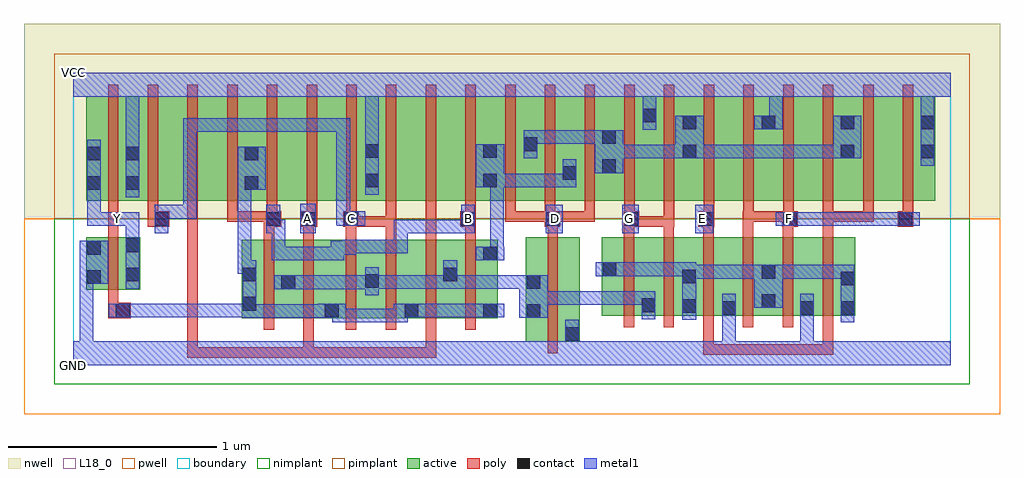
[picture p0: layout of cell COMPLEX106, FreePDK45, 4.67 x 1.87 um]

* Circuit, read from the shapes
.subckt COMPLEX106 A B C D E F G GND VCC Y
M1 Y n1 GND VSUBS nfet w=0.25u l=0.05u
M2 n2 B n1 VSUBS nfet w=0.375u l=0.05u m=2
M3 n1 A n2 VSUBS nfet w=0.375u l=0.05u m=2
M4 n2 C n1 VSUBS nfet w=0.375u l=0.05u m=2
M5 GND D n2 VSUBS nfet w=0.5u l=0.05u
M6 n2 G n3 VSUBS nfet w=0.375u l=0.05u m=2
M7 GND E n3 VSUBS nfet w=0.375u l=0.05u m=2
M8 n3 F GND VSUBS nfet w=0.375u l=0.05u m=2
M9 VCC n1 Y n4 pfet w=0.5u l=0.05u
M10 n5 C VCC n4 pfet w=0.5u l=0.05u
M11 n6 A n5 n4 pfet w=0.5u l=0.05u
M12 n1 B n6 n4 pfet w=0.5u l=0.05u
M13 n7 B n1 n4 pfet w=0.5u l=0.05u
M14 n8 A n7 n4 pfet w=0.5u l=0.05u
M15 VCC C n8 n4 pfet w=0.5u l=0.05u
M16 n9 C VCC n4 pfet w=0.5u l=0.05u
M17 n10 A n9 n4 pfet w=0.5u l=0.05u
M18 n1 B n10 n4 pfet w=0.5u l=0.05u
M19 n11 D n1 n4 pfet w=0.5u l=0.05u m=3
M20 VCC G n11 n4 pfet w=0.5u l=0.05u m=2
M21 n12 E n11 n4 pfet w=0.5u l=0.05u
M22 VCC F n12 n4 pfet w=0.5u l=0.05u
M23 n13 F VCC n4 pfet w=0.5u l=0.05u
M24 n11 E n13 n4 pfet w=0.5u l=0.05u
M25 n14 E n11 n4 pfet w=0.5u l=0.05u
M26 VCC F n14 n4 pfet w=0.5u l=0.05u
.ends

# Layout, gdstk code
import gdstk
lib = gdstk.Library(unit=1e-6, precision=1e-09)
def R(c, l, rs):  # rectangles x0, y0, x1, y1
    for r in rs: c.add(gdstk.rectangle(r[:2], r[2:], *l))
def A(c, l, x, y, w, h, nx, ny, dx, dy):  # array of equal rectangles
    R(c, l, [(x+i*dx, y+j*dy, x+i*dx+w, y+j*dy+h) for i in range(nx) for j in range(ny)])
active = (1, 0)
pwell = (2, 0)
nwell = (3, 0)
nimplant = (4, 0)
pimplant = (5, 0)
poly = (9, 0)
contact = (10, 0)
metal1 = (11, 0)
L18_0 = (18, 0)
boundary = (235, 0)

complex106 = lib.new_cell('COMPLEX106')
A(complex106, active, 0.477, 0.787, 0.19, 0.5, 3, 1, 0.57, 0)
R(complex106, active, [(2.165,0.112,2.425,0.612), (2.35,0.112,2.425,0.592), (2.165,0.145,2.24,0.612), (0.807,0.225,0.882,0.6), (0.807,0.225,1.067,0.6), (0.992,0.225,1.275,0.6), (1.2,0.225,1.467,0.6), (1.2,0.225,1.275,0.467), (1.392,0.225,1.657,0.6), (1.582,0.225,1.842,0.6), (1.582,0.225,1.657,0.512), (1.767,0.225,2.032,0.6), (1.957,0.225,2.032,0.6), (2.53,0.237,2.79,0.612), (2.715,0.237,2.985,0.612), (2.715,0.237,2.79,0.467), (2.91,0.237,2.985,0.612), (2.91,0.237,3.175,0.612), (3.1,0.237,3.365,0.612), (3.1,0.237,3.175,0.497), (3.29,0.237,3.55,0.612), (3.29,0.237,3.365,0.592), (3.475,0.237,3.742,0.612), (3.475,0.237,3.55,0.512), (3.667,0.237,3.742,0.612), (0.992,0.27,1.067,0.512), (1.392,0.27,1.467,0.592), (1.767,0.27,1.842,0.512), (2.53,0.27,2.605,0.612), (0.062,0.362,0.137,0.612), (0.062,0.362,0.322,0.612), (0.247,0.362,0.322,0.612), (0.062,0.787,0.322,1.287), (0.062,0.787,0.137,1.2), (0.247,0.787,0.322,1.255), (0.247,0.787,0.477,1.287), (0.667,0.787,0.892,1.287), (0.817,0.787,0.892,1.07), (0.817,0.787,1.047,1.287), (1.237,0.787,1.467,1.287), (1.392,0.787,1.467,1.255), (1.392,0.787,1.617,1.287), (1.807,0.787,2.032,1.287), (1.957,0.787,2.227,1.287), (1.957,0.787,2.032,1.2), (2.152,0.787,2.412,1.287), (2.337,0.787,2.602,1.287), (2.337,0.787,2.412,1.07), (2.527,0.787,2.795,1.287), (2.72,0.787,2.987,1.287), (2.912,0.787,3.137,1.287), (3.137,0.787,3.365,1.287), (3.29,0.787,3.517,1.287), (3.517,0.787,3.742,1.287), (3.667,0.787,3.9,1.287), (3.9,0.787,4.125,1.287), (4.05,0.787,4.125,1.255), (2.152,0.807,2.227,1.2), (2.527,0.807,2.602,1.2), (2.72,0.807,2.795,1.255), (2.912,0.807,2.987,1.2), (3.29,0.807,3.365,1.255), (3.667,0.807,3.742,1.2)])
R(complex106, pwell, [(-0.235,-0.235,4.435,0.7)])
R(complex106, nwell, [(-0.235,0.7,4.435,1.635)])
R(complex106, nimplant, [(-0.09,-0.09,4.29,0.7)])
R(complex106, pimplant, [(-0.09,0.7,4.29,1.49)])
A(complex106, poly, 1.497, 0.17, 0.05, 0.485, 3, 1, 0.19, 0)
A(complex106, poly, 2.635, 0.182, 0.05, 0.485, 5, 1, 0.19, 0)
A(complex106, poly, 2.635, 0.617, 0.05, 0.095, 3, 1, 0.19, 0)
A(complex106, poly, 0.167, 0.662, 0.05, 0.12, 3, 1, 1.33, 0)
A(complex106, poly, 0.737, 0.687, 0.05, 0.095, 4, 1, 0.19, 0)
A(complex106, poly, 1.687, 0.687, 0.05, 0.095, 6, 1, 0.19, 0)
A(complex106, poly, 3.017, 0.687, 0.05, 0.095, 4, 1, 0.19, 0)
A(complex106, poly, 0.167, 0.732, 0.05, 0.61, 19, 1, 0.19, 0)
R(complex106, poly, [(0.547,0.037,0.597,0.087), (0.547,0.037,0.597,0.087), (0.547,0.037,0.597,0.087), (0.547,0.037,0.597,0.087), (0.547,0.037,0.597,0.087), (0.547,0.037,0.597,0.087), (0.547,0.037,0.597,0.087), (0.547,0.037,0.597,0.087), (0.547,0.037,0.597,0.087), (0.547,0.037,0.757,0.087), (0.547,0.037,0.597,0.782), (0.707,0.037,0.757,0.087), (0.707,0.037,0.757,0.087), (0.707,0.037,0.757,0.087), (0.707,0.037,0.757,0.087), (0.707,0.037,0.757,0.087), (0.707,0.037,1.01,0.087), (0.96,0.037,1.01,0.087), (0.96,0.037,1.01,0.087), (0.96,0.037,1.01,0.087), (0.96,0.037,1.152,0.087), (1.102,0.037,1.152,0.087), (1.102,0.037,1.152,0.087), (1.102,0.037,1.152,0.087), (1.102,0.037,1.152,0.22), (1.102,0.037,1.3,0.087), (1.25,0.037,1.3,0.087), (1.25,0.037,1.3,0.087), (1.25,0.037,1.3,0.087), (1.25,0.037,1.605,0.087), (1.555,0.037,1.605,0.087), (1.555,0.037,1.737,0.087), (1.687,0.037,1.737,0.087), (1.687,0.037,1.737,0.087), (1.687,0.037,1.737,0.087), (1.687,0.037,1.737,0.22), (3.015,0.05,3.065,0.1), (3.015,0.05,3.065,0.232), (3.015,0.05,3.2,0.1), (3.15,0.05,3.2,0.1), (3.15,0.05,3.2,0.1), (3.15,0.05,3.2,0.1), (3.15,0.05,3.39,0.1), (3.34,0.05,3.39,0.1), (3.34,0.05,3.39,0.1), (3.34,0.05,3.39,0.1), (3.34,0.05,3.637,0.1), (3.587,0.05,3.637,0.1), (3.587,0.05,3.637,0.1), (3.587,0.05,3.637,0.1), (3.587,0.05,3.637,0.232), (2.27,0.057,2.32,0.667), (0.912,0.17,0.962,0.655), (1.102,0.17,1.152,0.655), (1.305,0.17,1.355,0.655), (3.587,0.182,3.637,0.667), (0.167,0.225,0.275,0.3), (0.167,0.25,0.217,0.357), (0.167,0.307,0.217,0.667), (0.912,0.605,0.962,0.712), (1.102,0.605,1.152,0.712), (1.305,0.605,1.355,0.712), (1.497,0.605,1.547,0.712), (1.687,0.605,1.737,0.737), (1.877,0.605,1.927,0.712), (0.167,0.617,0.217,0.712), (2.27,0.617,2.32,0.712), (3.205,0.617,3.255,0.737), (3.395,0.617,3.445,0.712), (3.587,0.617,3.637,0.737), (0.167,0.662,0.217,0.712), (0.357,0.662,0.46,0.737), (0.912,0.662,0.995,0.737), (1.092,0.662,1.167,0.737), (1.292,0.662,1.367,0.737), (1.317,0.662,1.547,0.712), (1.497,0.662,1.547,0.712), (1.497,0.662,1.547,0.712), (1.497,0.662,1.547,0.712), (1.852,0.662,1.927,0.737), (2.257,0.662,2.332,0.737), (2.635,0.662,2.71,0.737), (2.66,0.662,2.875,0.712), (2.825,0.662,2.875,0.712), (2.825,0.662,2.875,0.712), (2.825,0.662,2.877,0.712), (2.992,0.662,3.067,0.737), (3.392,0.662,3.467,0.737), (3.945,0.662,4.02,0.737), (0.357,0.687,0.407,0.782), (0.737,0.687,0.787,0.737), (0.737,0.687,0.787,0.737), (0.737,0.687,0.787,0.737), (0.737,0.687,0.962,0.737), (1.687,0.687,1.737,0.737), (2.067,0.687,2.117,0.737), (2.067,0.687,2.117,0.737), (2.067,0.687,2.117,0.737), (2.067,0.687,2.307,0.737), (2.282,0.687,2.497,0.737), (2.447,0.687,2.497,0.737), (2.447,0.687,2.497,0.737), (2.447,0.687,2.497,0.737), (3.205,0.687,3.257,0.737), (3.207,0.687,3.442,0.737), (3.392,0.687,3.442,0.737), (3.392,0.687,3.442,0.737), (3.587,0.687,3.637,0.737), (3.587,0.687,3.83,0.737), (3.78,0.687,3.83,0.782), (3.78,0.687,3.83,0.737), (3.78,0.687,3.83,0.737), (3.78,0.687,3.83,0.737), (3.97,0.687,4.02,0.782), (3.78,0.732,3.83,1.342), (3.97,0.732,4.02,1.342)])
R(complex106, contact, [(2.355,0.117,2.42,0.182), (2.17,0.227,2.235,0.292), (0.205,0.23,0.27,0.295), (1.205,0.23,1.27,0.295), (1.587,0.23,1.652,0.295), (1.962,0.23,2.027,0.295), (3.105,0.242,3.17,0.307), (3.48,0.242,3.545,0.307), (3.672,0.242,3.737,0.307), (2.915,0.252,2.98,0.317), (2.72,0.255,2.785,0.32), (0.812,0.262,0.877,0.327), (3.295,0.275,3.36,0.34), (0.997,0.365,1.062,0.43), (2.17,0.367,2.235,0.432), (1.397,0.37,1.462,0.435), (3.672,0.382,3.737,0.447), (0.067,0.39,0.132,0.455), (2.915,0.392,2.98,0.457), (0.252,0.402,0.317,0.467), (0.812,0.402,0.877,0.467), (1.772,0.402,1.837,0.467), (3.295,0.415,3.36,0.48), (2.535,0.427,2.6,0.492), (1.962,0.502,2.027,0.567), (0.067,0.53,0.132,0.595), (0.252,0.542,0.317,0.607), (0.39,0.667,0.455,0.732), (0.925,0.667,0.99,0.732), (1.097,0.667,1.162,0.732), (1.297,0.667,1.362,0.732), (1.857,0.667,1.922,0.732), (2.262,0.667,2.327,0.732), (2.64,0.667,2.705,0.732), (2.997,0.667,3.062,0.732), (3.397,0.667,3.462,0.732), (3.95,0.667,4.015,0.732), (0.067,0.84,0.132,0.905), (0.252,0.84,0.317,0.905), (0.822,0.84,0.887,0.905), (1.397,0.852,1.462,0.917), (1.962,0.852,2.027,0.917), (2.342,0.887,2.407,0.952), (2.532,0.92,2.597,0.985), (0.067,0.98,0.132,1.045), (0.252,0.98,0.317,1.045), (0.822,0.98,0.887,1.045), (2.917,0.99,2.982,1.055), (3.672,0.99,3.737,1.055), (4.055,0.99,4.12,1.055), (1.397,0.992,1.462,1.057), (1.962,0.992,2.027,1.057), (2.157,1.025,2.222,1.09), (2.532,1.06,2.597,1.125), (2.917,1.13,2.982,1.195), (3.295,1.13,3.36,1.195), (3.672,1.13,3.737,1.195), (4.055,1.13,4.12,1.195), (2.725,1.162,2.79,1.227)])
A(complex106, metal1, 3.297, 0.99, 0.065, 0.065, 3, 1, 0.17, 0)
R(complex106, metal1, [(0,0,4.2,0.115), (0.032,0.05,0.097,0.455), (2.355,0.05,2.42,0.115), (2.355,0.05,2.42,0.115), (2.355,0.05,2.42,0.147), (3.105,0.05,3.17,0.115), (3.105,0.05,3.17,0.115), (3.105,0.05,3.17,0.115), (3.105,0.05,3.17,0.115), (3.105,0.05,3.17,0.272), (3.48,0.05,3.545,0.115), (3.48,0.05,3.545,0.115), (3.48,0.05,3.545,0.115), (3.48,0.05,3.545,0.115), (3.48,0.05,3.545,0.272), (2.355,0.082,2.42,0.217), (1.24,0.205,1.462,0.27), (1.24,0.205,1.305,0.292), (1.397,0.205,1.462,0.27), (1.397,0.205,1.6,0.27), (1.535,0.205,1.6,0.295), (3.105,0.207,3.17,0.342), (3.48,0.207,3.545,0.342), (3.672,0.207,3.737,0.482), (2.915,0.217,2.982,0.492), (2.72,0.22,2.785,0.355), (0.812,0.227,0.877,0.502), (0.812,0.227,0.877,0.292), (0.812,0.227,0.877,0.292), (0.812,0.227,1.097,0.292), (1.032,0.227,1.097,0.292), (1.032,0.227,1.167,0.292), (1.102,0.227,1.167,0.292), (1.102,0.227,1.235,0.292), (1.17,0.227,1.305,0.295), (1.24,0.227,1.305,0.292), (2.135,0.227,2.27,0.432), (0.17,0.23,0.305,0.295), (0.24,0.23,0.305,0.295), (0.24,0.23,0.305,0.295), (0.24,0.23,0.455,0.295), (0.39,0.23,0.455,0.295), (0.39,0.23,0.455,0.295), (0.39,0.23,0.455,0.295), (0.39,0.23,0.592,0.295), (0.527,0.23,0.592,0.295), (0.527,0.23,0.592,0.295), (0.527,0.23,0.592,0.295), (0.527,0.23,0.73,0.295), (0.665,0.23,0.73,0.295), (0.665,0.23,0.877,0.295), (1.535,0.23,1.617,0.295), (1.552,0.23,1.687,0.295), (1.622,0.23,1.737,0.295), (1.672,0.23,1.737,0.295), (1.672,0.23,1.855,0.295), (1.79,0.23,1.855,0.295), (1.79,0.23,1.875,0.295), (1.81,0.23,1.875,0.295), (1.81,0.23,1.992,0.295), (1.927,0.23,2.062,0.295), (3.26,0.275,3.395,0.48), (2.205,0.29,2.27,0.355), (2.205,0.29,2.27,0.355), (2.205,0.29,2.407,0.355), (2.342,0.29,2.407,0.355), (2.342,0.29,2.407,0.355), (2.342,0.29,2.407,0.355), (2.342,0.29,2.545,0.355), (2.48,0.29,2.545,0.355), (2.48,0.29,2.545,0.355), (2.48,0.29,2.545,0.355), (2.48,0.29,2.785,0.355), (1.397,0.335,1.462,0.47), (0.962,0.365,1.097,0.43), (1.032,0.365,1.13,0.43), (1.065,0.365,1.13,0.43), (1.065,0.365,1.235,0.43), (1.17,0.365,1.235,0.43), (1.17,0.365,1.462,0.43), (1.397,0.365,1.462,0.43), (1.397,0.365,1.462,0.43), (0.252,0.367,0.317,0.642), (1.397,0.367,1.6,0.432), (1.535,0.367,1.6,0.432), (1.535,0.367,1.6,0.432), (1.535,0.367,1.6,0.432), (1.535,0.367,1.737,0.432), (1.672,0.367,1.737,0.432), (1.672,0.367,1.837,0.432), (1.772,0.367,1.837,0.502), (1.772,0.367,1.875,0.432), (1.81,0.367,1.875,0.432), (1.81,0.367,2.06,0.432), (1.995,0.367,2.06,0.432), (1.995,0.367,2.06,0.432), (1.995,0.367,2.06,0.432), (1.995,0.367,2.2,0.432), (0.032,0.39,0.097,0.455), (0.032,0.39,0.097,0.455), (0.032,0.39,0.097,0.455), (0.032,0.39,0.097,0.455), (0.032,0.39,0.097,0.455), (0.032,0.39,0.097,0.455), (0.032,0.39,0.167,0.595), (2.917,0.415,2.982,0.48), (2.917,0.415,2.982,0.48), (2.917,0.415,3.155,0.48), (3.09,0.415,3.155,0.48), (3.09,0.415,3.155,0.48), (3.09,0.415,3.155,0.48), (3.09,0.415,3.325,0.48), (3.33,0.415,3.5,0.48), (3.435,0.415,3.5,0.48), (3.435,0.415,3.532,0.48), (3.467,0.415,3.532,0.48), (3.467,0.415,3.637,0.48), (3.572,0.415,3.637,0.48), (3.572,0.415,3.737,0.48), (2.5,0.427,2.635,0.492), (2.57,0.427,2.635,0.492), (2.57,0.427,2.635,0.492), (2.57,0.427,2.81,0.492), (2.745,0.427,2.81,0.492), (2.745,0.427,2.81,0.492), (2.745,0.427,2.81,0.492), (2.745,0.427,2.98,0.492), (0.787,0.437,0.877,0.502), (0.787,0.437,0.852,0.905), (0.812,0.437,0.877,0.502), (0.95,0.502,1.015,0.567), (0.95,0.502,1.13,0.567), (0.95,0.502,1.015,0.697), (1.065,0.502,1.13,0.567), (1.065,0.502,1.297,0.567), (1.232,0.502,1.297,0.595), (1.927,0.502,2.062,0.567), (1.995,0.502,2.06,0.917), (1.232,0.53,1.355,0.595), (1.29,0.53,1.355,0.6), (1.29,0.535,1.462,0.6), (1.397,0.535,1.462,0.6), (1.397,0.535,1.6,0.6), (1.535,0.535,1.6,0.6), (1.535,0.535,1.6,0.6), (1.535,0.535,1.6,0.6), (1.535,0.535,1.6,0.697), (0.252,0.577,0.317,0.732), (0.39,0.632,0.455,0.767), (0.925,0.632,0.99,0.767), (0.925,0.632,1.015,0.697), (0.95,0.632,1.015,0.697), (1.087,0.632,1.162,0.772), (1.535,0.632,1.6,0.697), (1.535,0.632,1.737,0.697), (1.672,0.632,1.737,0.697), (1.672,0.632,1.855,0.697), (1.79,0.632,1.855,0.697), (1.79,0.632,1.922,0.697), (1.857,0.632,1.922,0.767), (2.262,0.632,2.342,0.767), (2.627,0.632,2.707,0.767), (2.977,0.632,3.062,0.767), (0.067,0.667,0.132,0.732), (0.067,0.667,0.207,0.732), (0.067,0.667,0.132,0.87), (0.142,0.667,0.277,0.732), (0.212,0.667,0.317,0.732), (0.252,0.667,0.317,0.732), (1.262,0.667,1.397,0.737), (3.362,0.667,3.497,0.732), (3.432,0.667,3.532,0.732), (3.467,0.667,3.532,0.732), (3.467,0.667,3.705,0.732), (3.64,0.667,3.705,0.732), (3.64,0.667,3.705,0.732), (3.64,0.667,3.705,0.732), (3.64,0.667,3.842,0.732), (3.777,0.667,3.842,0.732), (3.777,0.667,3.98,0.732), (3.915,0.667,3.98,0.732), (3.915,0.667,3.98,0.732), (3.915,0.667,4.05,0.732), (1.26,0.672,1.325,0.737), (1.26,0.672,1.327,0.737), (1.26,0.672,1.325,1.182), (0.39,0.702,0.455,0.767), (0.39,0.702,0.455,0.767), (0.39,0.702,0.592,0.767), (0.527,0.702,0.592,0.767), (0.527,0.702,0.592,0.767), (0.527,0.702,0.592,0.767), (0.527,0.702,0.592,1.182), (0.067,0.805,0.132,1.08), (0.252,0.805,0.317,1.08), (1.397,0.817,1.462,1.092), (0.787,0.84,0.852,0.905), (0.787,0.84,0.852,0.905), (0.787,0.84,0.852,0.905), (0.787,0.84,0.852,0.905), (0.787,0.84,0.922,1.045), (1.927,0.852,2.062,1.057), (1.995,0.852,2.06,0.917), (1.995,0.852,2.06,0.917), (1.997,0.852,2.062,0.917), (1.997,0.852,2.062,0.917), (1.997,0.852,2.2,0.917), (2.135,0.852,2.2,0.917), (2.135,0.852,2.2,0.917), (2.135,0.852,2.2,0.917), (2.135,0.852,2.407,0.917), (2.342,0.852,2.407,0.987), (2.497,0.92,2.632,1.125), (4.055,0.955,4.12,1.23), (2.157,0.99,2.222,1.125), (2.567,0.99,2.632,1.055), (2.567,0.99,2.632,1.055), (2.567,0.99,2.81,1.055), (2.745,0.99,2.81,1.055), (2.745,0.99,2.81,1.055), (2.745,0.99,2.81,1.055), (2.745,0.99,2.947,1.055), (2.882,0.99,3.017,1.195), (2.952,0.99,3.017,1.055), (2.952,0.99,3.017,1.055), (2.952,0.99,3.185,1.055), (3.12,0.99,3.185,1.055), (3.12,0.99,3.185,1.055), (3.12,0.99,3.185,1.055), (3.12,0.99,3.362,1.055), (3.297,0.99,3.362,1.055), (3.297,0.99,3.362,1.055), (3.297,0.99,3.532,1.055), (3.467,0.99,3.702,1.055), (3.637,0.99,3.702,1.055), (3.637,0.99,3.772,1.195), (0.252,1.015,0.317,1.35), (1.397,1.027,1.462,1.35), (2.157,1.06,2.23,1.125), (2.165,1.06,2.23,1.125), (2.165,1.06,2.407,1.125), (2.342,1.06,2.407,1.125), (2.342,1.06,2.407,1.125), (2.342,1.06,2.407,1.125), (2.342,1.06,2.562,1.125), (0.527,1.117,0.592,1.182), (0.527,1.117,0.592,1.182), (0.527,1.117,0.592,1.182), (0.527,1.117,0.73,1.182), (0.665,1.117,0.73,1.182), (0.665,1.117,0.73,1.182), (0.665,1.117,0.73,1.182), (0.665,1.117,0.992,1.182), (0.927,1.117,0.992,1.182), (0.927,1.117,1.06,1.182), (0.995,1.117,1.06,1.182), (0.995,1.117,1.06,1.182), (0.995,1.117,1.06,1.182), (0.995,1.117,1.13,1.182), (1.065,1.117,1.13,1.182), (1.065,1.117,1.325,1.182), (1.26,1.117,1.325,1.182), (2.725,1.127,2.79,1.262), (3.26,1.13,3.395,1.195), (3.33,1.13,3.395,1.35), (4.055,1.165,4.12,1.35), (2.725,1.197,2.79,1.35), (0,1.285,4.2,1.4)])
A(complex106, L18_0, 2.277, 0.667, 0.065, 0.065, 3, 1, 0.35, 0)
R(complex106, L18_0, [(0,0,4.2,0.115), (0.032,0.05,0.097,0.455), (2.355,0.05,2.42,0.115), (2.355,0.05,2.42,0.115), (2.355,0.05,2.42,0.147), (3.105,0.05,3.17,0.115), (3.105,0.05,3.17,0.115), (3.105,0.05,3.17,0.115), (3.105,0.05,3.17,0.115), (3.105,0.05,3.17,0.272), (3.48,0.05,3.545,0.115), (3.48,0.05,3.545,0.115), (3.48,0.05,3.545,0.115), (3.48,0.05,3.545,0.115), (3.48,0.05,3.545,0.272), (2.355,0.082,2.42,0.217), (3.105,0.207,3.17,0.342), (3.48,0.207,3.545,0.342), (0.252,0.367,0.317,0.642), (0.032,0.39,0.097,0.455), (0.032,0.39,0.097,0.455), (0.032,0.39,0.097,0.455), (0.032,0.39,0.097,0.455), (0.032,0.39,0.097,0.455), (0.032,0.39,0.097,0.455), (0.032,0.39,0.167,0.595), (0.95,0.502,1.015,0.567), (0.95,0.502,1.015,0.697), (0.95,0.502,1.13,0.567), (1.065,0.502,1.13,0.567), (1.065,0.502,1.297,0.567), (1.232,0.502,1.297,0.595), (1.232,0.53,1.355,0.595), (1.29,0.53,1.355,0.6), (1.29,0.535,1.462,0.6), (1.397,0.535,1.462,0.6), (1.397,0.535,1.6,0.6), (1.535,0.535,1.6,0.6), (1.535,0.535,1.6,0.6), (1.535,0.535,1.6,0.6), (1.535,0.535,1.6,0.697), (0.252,0.577,0.317,0.732), (0.39,0.632,0.455,0.767), (0.925,0.632,0.99,0.767), (0.925,0.632,1.015,0.697), (0.95,0.632,1.015,0.697), (1.087,0.632,1.162,0.772), (1.535,0.632,1.6,0.697), (1.535,0.632,1.737,0.697), (1.672,0.632,1.737,0.697), (1.672,0.632,1.855,0.697), (1.79,0.632,1.855,0.697), (1.79,0.632,1.922,0.697), (1.857,0.632,1.922,0.767), (2.262,0.632,2.342,0.767), (2.627,0.632,2.707,0.767), (2.977,0.632,3.062,0.767), (0.067,0.667,0.132,0.732), (0.067,0.667,0.132,0.87), (0.067,0.667,0.207,0.732), (0.142,0.667,0.277,0.732), (0.177,0.667,0.242,0.732), (0.212,0.667,0.317,0.732), (0.252,0.667,0.317,0.732), (1.087,0.667,1.152,0.732), (1.262,0.667,1.397,0.737), (1.297,0.667,1.362,0.732), (1.857,0.667,1.922,0.732), (3.362,0.667,3.497,0.732), (3.397,0.667,3.462,0.732), (3.432,0.667,3.532,0.732), (3.467,0.667,3.532,0.732), (3.467,0.667,3.705,0.732), (3.64,0.667,3.705,0.732), (3.64,0.667,3.705,0.732), (3.64,0.667,3.705,0.732), (3.64,0.667,3.842,0.732), (3.777,0.667,3.842,0.732), (3.777,0.667,3.98,0.732), (3.915,0.667,3.98,0.732), (3.915,0.667,3.98,0.732), (3.915,0.667,4.05,0.732), (1.26,0.672,1.325,0.737), (1.26,0.672,1.325,1.182), (1.26,0.672,1.327,0.737), (0.39,0.702,0.455,0.767), (0.39,0.702,0.455,0.767), (0.39,0.702,0.592,0.767), (0.527,0.702,0.592,0.767), (0.527,0.702,0.592,0.767), (0.527,0.702,0.592,0.767), (0.527,0.702,0.592,1.182), (0.067,0.805,0.132,1.08), (0.252,0.805,0.317,1.08), (1.397,0.817,1.462,1.092), (4.055,0.955,4.12,1.23), (0.252,1.015,0.317,1.35), (1.397,1.027,1.462,1.35), (0.527,1.117,0.592,1.182), (0.527,1.117,0.592,1.182), (0.527,1.117,0.592,1.182), (0.527,1.117,0.73,1.182), (0.665,1.117,0.73,1.182), (0.665,1.117,0.73,1.182), (0.665,1.117,0.73,1.182), (0.665,1.117,0.992,1.182), (0.927,1.117,0.992,1.182), (0.927,1.117,1.06,1.182), (0.995,1.117,1.06,1.182), (0.995,1.117,1.06,1.182), (0.995,1.117,1.06,1.182), (0.995,1.117,1.13,1.182), (1.065,1.117,1.13,1.182), (1.065,1.117,1.325,1.182), (1.26,1.117,1.325,1.182), (2.725,1.127,2.79,1.262), (3.26,1.13,3.395,1.195), (3.33,1.13,3.395,1.35), (4.055,1.165,4.12,1.35), (2.725,1.197,2.79,1.35), (0,1.285,4.2,1.4)])
R(complex106, boundary, [(0,0,4.2,1.4)])
complex106.add(gdstk.Label('A', (1.12,0.7), layer=11, texttype=0))
complex106.add(gdstk.Label('B', (1.89,0.7), layer=11, texttype=0))
complex106.add(gdstk.Label('C', (1.33,0.7), layer=11, texttype=0))
complex106.add(gdstk.Label('D', (2.31,0.7), layer=11, texttype=0))
complex106.add(gdstk.Label('E', (3.01,0.7), layer=11, texttype=0))
complex106.add(gdstk.Label('F', (3.43,0.7), layer=11, texttype=0))
complex106.add(gdstk.Label('G', (2.66,0.7), layer=11, texttype=0))
complex106.add(gdstk.Label('Y', (0.21,0.7), layer=11, texttype=0))
complex106.add(gdstk.Label('VCC', (0,1.4), layer=11, texttype=0))
complex106.add(gdstk.Label('GND', (0,0), layer=11, texttype=0))

lib.write_gds('COMPLEX106.gds')
